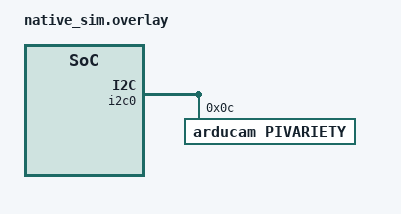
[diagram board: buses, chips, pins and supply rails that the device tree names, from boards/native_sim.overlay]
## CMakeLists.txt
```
# Copyright (c) 2026 Richard Osterloh
# SPDX-License-Identifier: Apache-2.0

cmake_minimum_required(VERSION 3.20.0)
find_package(Zephyr REQUIRED HINTS $ENV{ZEPHYR_BASE})
project(arducam_pivariety_test)

FILE(GLOB app_sources src/*.c)
target_sources(app PRIVATE ${app_sources})
```

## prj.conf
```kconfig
CONFIG_ZTEST=y
CONFIG_EMUL=y

CONFIG_I2C=y
CONFIG_I2C_EMUL=y

CONFIG_VIDEO=y
CONFIG_VIDEO_ARDUCAM_PIVARIETY=y
CONFIG_VIDEO_LOG_LEVEL_DBG=y
```

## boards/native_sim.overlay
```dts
/*
 * Copyright (c) 2026 Richard Osterloh
 * SPDX-License-Identifier: Apache-2.0
 */

#include <zephyr/dt-bindings/video/video-interfaces.h>

&i2c0 {
	status = "okay";

	pivariety: pivariety@c {
		compatible = "arducam,pivariety";
		reg = <0x0c>;

		port {
			pivariety_ep_out: endpoint {
				remote-endpoint-label = "";
				bus-type = <VIDEO_BUS_TYPE_CSI2_DPHY>;
				data-lanes = <1 2>;
				link-frequencies = <493500000>;
			};
		};
	};
};
```

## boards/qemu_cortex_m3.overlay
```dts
/*
 * Copyright (c) 2026 Richard Osterloh
 * SPDX-License-Identifier: Apache-2.0
 */

#include <zephyr/dt-bindings/i2c/i2c.h>
#include <zephyr/dt-bindings/video/video-interfaces.h>

/ {
	fake_i2c_bus: i2c@100 {
		compatible = "zephyr,i2c-emul-controller";
		reg = <0x100 4>;
		clock-frequency = <I2C_BITRATE_STANDARD>;
		#address-cells = <1>;
		#size-cells = <0>;
		status = "okay";

		pivariety: pivariety@c {
			compatible = "arducam,pivariety";
			reg = <0x0c>;

			port {
				pivariety_ep_out: endpoint {
					remote-endpoint-label = "";
					bus-type = <VIDEO_BUS_TYPE_CSI2_DPHY>;
					data-lanes = <1 2>;
					link-frequencies = <493500000>;
				};
			};
		};
	};
};
```

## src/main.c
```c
/*
 * Copyright (c) 2026 Richard Osterloh
 * SPDX-License-Identifier: Apache-2.0
 */

#include <zephyr/device.h>
#include <zephyr/drivers/video.h>
#include <zephyr/video/formats.h>
#include <zephyr/ztest.h>

#include "pivariety_emul.h"

static const struct device *const cam = DEVICE_DT_GET(DT_NODELABEL(pivariety));

ZTEST(pivariety, test_device_is_ready)
{
	zassert_true(device_is_ready(cam), "probe should succeed against the emulator");
}

ZTEST(pivariety, test_probe_reads_identity_registers)
{
	/* Probe must read all three identity registers, or a wrong/absent module
	 * would bind silently.
	 */
	zassert_true(pivariety_emul_was_read(DEVICE_ID_REG), "DEVICE_ID_REG not read");
	zassert_true(pivariety_emul_was_read(SENSOR_ID_REG), "SENSOR_ID_REG not read");
	zassert_true(pivariety_emul_was_read(DEVICE_VERSION_REG), "DEVICE_VERSION_REG not read");
}

ZTEST(pivariety, test_enumerates_all_format_resolution_pairs)
{
	struct video_caps caps = {.type = VIDEO_BUF_TYPE_OUTPUT};
	int n = 0;

	zassert_ok(video_get_caps(cam, &caps));

	while (caps.format_caps[n].pixelformat != 0) {
		n++;
	}

	/* The emulator advertises RAW10-grey at 2 resolutions and RAW8-BGGR at 1. */
	zassert_equal(n, 3, "expected 3 (format, resolution) pairs, got %d", n);
}

ZTEST(pivariety, test_maps_greyscale_and_bayer_data_types)
{
	struct video_caps caps = {.type = VIDEO_BUF_TYPE_OUTPUT};

	zassert_ok(video_get_caps(cam, &caps));

	/* RAW10 (0x2b) + order 4 (GRAY) -> Y10P, not a Bayer format. */
	zassert_equal(caps.format_caps[0].pixelformat, VIDEO_PIX_FMT_Y10P);
	zassert_equal(caps.format_caps[0].width_min, 240);
	zassert_equal(caps.format_caps[0].height_min, 180);
	zassert_equal(caps.format_caps[1].pixelformat, VIDEO_PIX_FMT_Y10P);
	zassert_equal(caps.format_caps[1].width_min, 120);

	/* RAW8 (0x2a) + order 0 (BGGR) -> SBGGR8. */
	zassert_equal(caps.format_caps[2].pixelformat, VIDEO_PIX_FMT_SBGGR8);
	zassert_equal(caps.format_caps[2].width_min, 640);
}

ZTEST(pivariety, test_set_fmt_selects_module_indices)
{
	struct video_format fmt = {
		.type = VIDEO_BUF_TYPE_OUTPUT,
		.pixelformat = VIDEO_PIX_FMT_SBGGR8,
		.width = 640,
		.height = 480,
	};

	zassert_ok(video_set_format(cam, &fmt));

	/* SBGGR8 640x480 is the emulator's format 1, resolution 0. */
	zassert_equal(pivariety_emul_last_write(PIXFORMAT_INDEX_REG), 1);
	zassert_equal(pivariety_emul_last_write(RESOLUTION_INDEX_REG), 0);
}

ZTEST(pivariety, test_set_fmt_rejects_unadvertised_format)
{
	struct video_format fmt = {
		.type = VIDEO_BUF_TYPE_OUTPUT,
		.pixelformat = VIDEO_PIX_FMT_RGB565,
		.width = 640,
		.height = 480,
	};

	zassert_equal(video_set_format(cam, &fmt), -ENOTSUP);
}

ZTEST(pivariety, test_get_fmt_returns_what_was_set)
{
	struct video_format set = {
		.type = VIDEO_BUF_TYPE_OUTPUT,
		.pixelformat = VIDEO_PIX_FMT_Y10P,
		.width = 240,
		.height = 180,
	};
	struct video_format got = {.type = VIDEO_BUF_TYPE_OUTPUT};

	zassert_ok(video_set_format(cam, &set));
	zassert_ok(video_get_format(cam, &got));

	zassert_equal(got.pixelformat, VIDEO_PIX_FMT_Y10P);
	zassert_equal(got.width, 240);
	zassert_equal(got.height, 180);
}

ZTEST(pivariety, test_stream_start_stop_writes_mode_select)
{
	zassert_ok(video_stream_start(cam, VIDEO_BUF_TYPE_OUTPUT));
	zassert_equal(pivariety_emul_last_write(MODE_SELECT_REG), 1);

	zassert_ok(video_stream_stop(cam, VIDEO_BUF_TYPE_OUTPUT));
	zassert_equal(pivariety_emul_last_write(MODE_SELECT_REG), 0);
}

ZTEST(pivariety, test_link_frequency_comes_from_devicetree)
{
	int64_t freq = video_get_csi_link_freq(cam, 10, 2);

	/* Pivariety has no link-frequency register; it must come from the
	 * endpoint's link-frequencies property.
	 */
	zassert_equal(freq, 493500000, "got %lld", freq);
}

ZTEST(pivariety, test_maps_known_control_and_skips_unknown)
{
	struct video_ctrl_query cq = {.dev = cam, .id = VIDEO_CID_EXPOSURE};

	zassert_ok(video_query_ctrl(&cq), "exposure should be registered");
	zassert_equal(cq.range.min, 0);
	zassert_equal(cq.range.max, 65535);
	zassert_equal(cq.range.def, 100);

	/* The vendor control has no Zephyr CID and must not have been registered. */
	cq.id = 0x009a0999;
	zassert_not_equal(video_query_ctrl(&cq), 0, "vendor control should be skipped");
}

ZTEST(pivariety, test_set_ctrl_writes_id_then_value)
{
	struct video_control ctrl = {.id = VIDEO_CID_EXPOSURE, .val = 500};

	zassert_ok(video_set_ctrl(cam, &ctrl));
	zassert_equal(pivariety_emul_last_write(CTRL_ID_REG), 0x00980911);
	zassert_equal(pivariety_emul_last_write(CTRL_VALUE_REG), 500);
}

ZTEST_SUITE(pivariety, NULL, NULL, NULL, NULL, NULL);
```

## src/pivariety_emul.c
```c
/*
 * Copyright (c) 2026 Richard Osterloh
 * SPDX-License-Identifier: Apache-2.0
 *
 * I2C emulator for an Arducam Pivariety module.
 *
 * Models the index/attribute enumeration protocol rather than a flat register
 * file: writing PIXFORMAT_INDEX_REG or RESOLUTION_INDEX_REG changes what the
 * corresponding attribute registers read back, and out-of-range indices return
 * NO_DATA_AVAILABLE. That behaviour is the thing worth testing; a flat register
 * file would let a broken enumeration loop pass.
 *
 * Advertised module: one greyscale RAW10 format (the shape the ToF camera is
 * expected to report) at two resolutions, plus one Bayer RAW8 format, so the
 * fourcc mapping is exercised on both paths.
 */

#define DT_DRV_COMPAT arducam_pivariety

#include <zephyr/drivers/emul.h>
#include <zephyr/drivers/i2c.h>
#include <zephyr/drivers/i2c_emul.h>
#include <zephyr/sys/byteorder.h>

#include "pivariety_emul.h"

#define EMUL_MAX_TRACKED_REG 0x0500

struct piv_emul_fmt {
	uint32_t data_type;
	uint32_t order;
	uint32_t lanes;
	uint32_t res[2][2]; /* {width, height} */
	uint32_t num_res;
};

static const struct piv_emul_fmt emul_fmts[] = {
	{.data_type = 0x2b, .order = 4, .lanes = 2, .res = {{240, 180}, {120, 90}}, .num_res = 2},
	{.data_type = 0x2a, .order = 0, .lanes = 2, .res = {{640, 480}, {0, 0}}, .num_res = 1},
};

static uint32_t emul_pixfmt_index;
static uint32_t emul_res_index;
static uint32_t emul_mode_select;
static bool emul_read_seen[EMUL_MAX_TRACKED_REG];
static uint32_t emul_last_write[EMUL_MAX_TRACKED_REG];

/* One mappable control (exposure) and one with no Zephyr equivalent, so the
 * skip path is exercised too. 0x00980911 is V4L2_CID_EXPOSURE.
 */
struct piv_emul_ctrl {
	uint32_t id, min, max, step, def;
};

static const struct piv_emul_ctrl emul_ctrls[] = {
	{.id = 0x00980911, .min = 0, .max = 65535, .step = 1, .def = 100},
	{.id = 0x009a0999, .min = 0, .max = 1, .step = 1, .def = 0},
};

static uint32_t emul_ctrl_index;
static uint32_t emul_ctrl_value;

bool pivariety_emul_was_read(uint16_t reg)
{
	return reg < EMUL_MAX_TRACKED_REG && emul_read_seen[reg];
}

uint32_t pivariety_emul_last_write(uint16_t reg)
{
	return reg < EMUL_MAX_TRACKED_REG ? emul_last_write[reg] : NO_DATA_AVAILABLE;
}

static uint32_t emul_read_reg(uint16_t reg)
{
	const struct piv_emul_fmt *fmt = NULL;

	if (reg < EMUL_MAX_TRACKED_REG) {
		emul_read_seen[reg] = true;
	}

	if (emul_pixfmt_index < ARRAY_SIZE(emul_fmts)) {
		fmt = &emul_fmts[emul_pixfmt_index];
	}

	switch (reg) {
	case SYSTEM_IDLE_REG:
		/* 0 == free. Confirmed against real hardware, which reports 0 at rest,
		 * and against wait_for_free() in the kernel driver.
		 */
		return 0;
	case DEVICE_VERSION_REG:
		return 0x0001;
	case SENSOR_ID_REG:
		return 0x1234;
	case DEVICE_ID_REG:
		return 0x0001;
	case MODE_SELECT_REG:
		return emul_mode_select;
	case PIXFORMAT_TYPE_REG:
		return fmt ? fmt->data_type : NO_DATA_AVAILABLE;
	case PIXFORMAT_ORDER_REG:
		return fmt ? fmt->order : NO_DATA_AVAILABLE;
	case MIPI_LANES_REG:
		return fmt ? fmt->lanes : NO_DATA_AVAILABLE;
	case FORMAT_WIDTH_REG:
		if (fmt == NULL || emul_res_index >= fmt->num_res) {
			return NO_DATA_AVAILABLE;
		}
		return fmt->res[emul_res_index][0];
	case FORMAT_HEIGHT_REG:
		if (fmt == NULL || emul_res_index >= fmt->num_res) {
			return NO_DATA_AVAILABLE;
		}
		return fmt->res[emul_res_index][1];
	case CTRL_ID_REG:
		return emul_ctrl_index < ARRAY_SIZE(emul_ctrls) ? emul_ctrls[emul_ctrl_index].id
								: NO_DATA_AVAILABLE;
	case CTRL_MIN_REG:
		return emul_ctrl_index < ARRAY_SIZE(emul_ctrls) ? emul_ctrls[emul_ctrl_index].min
								: NO_DATA_AVAILABLE;
	case CTRL_MAX_REG:
		return emul_ctrl_index < ARRAY_SIZE(emul_ctrls) ? emul_ctrls[emul_ctrl_index].max
								: NO_DATA_AVAILABLE;
	case CTRL_STEP_REG:
		return emul_ctrl_index < ARRAY_SIZE(emul_ctrls) ? emul_ctrls[emul_ctrl_index].step
								: NO_DATA_AVAILABLE;
	case CTRL_DEF_REG:
		return emul_ctrl_index < ARRAY_SIZE(emul_ctrls) ? emul_ctrls[emul_ctrl_index].def
								: NO_DATA_AVAILABLE;
	case CTRL_VALUE_REG:
		return emul_ctrl_value;
	default:
		return NO_DATA_AVAILABLE;
	}
}

static void emul_write_reg(uint16_t reg, uint32_t val)
{
	if (reg < EMUL_MAX_TRACKED_REG) {
		emul_last_write[reg] = val;
	}

	switch (reg) {
	case PIXFORMAT_INDEX_REG:
		emul_pixfmt_index = val;
		break;
	case RESOLUTION_INDEX_REG:
		emul_res_index = val;
		break;
	case MODE_SELECT_REG:
		emul_mode_select = val;
		break;
	case CTRL_INDEX_REG:
		emul_ctrl_index = val;
		break;
	case CTRL_VALUE_REG:
		emul_ctrl_value = val;
		break;
	default:
		break;
	}
}

static int piv_emul_transfer(const struct emul *target, struct i2c_msg *msgs, int num_msgs,
			     int addr)
{
	ARG_UNUSED(target);
	ARG_UNUSED(addr);

	if (num_msgs == 1 && msgs[0].len == 6 && !(msgs[0].flags & I2C_MSG_READ)) {
		/* Write: 2-byte BE address followed by 4-byte BE value. */
		emul_write_reg(sys_get_be16(&msgs[0].buf[0]), sys_get_be32(&msgs[0].buf[2]));
		return 0;
	}

	if (num_msgs == 2 && msgs[0].len == 2 && !(msgs[0].flags & I2C_MSG_READ) &&
	    msgs[1].len == 4 && (msgs[1].flags & I2C_MSG_READ)) {
		sys_put_be32(emul_read_reg(sys_get_be16(&msgs[0].buf[0])), msgs[1].buf);
		return 0;
	}

	return -EIO;
}

static const struct i2c_emul_api piv_emul_api = {
	.transfer = piv_emul_transfer,
};

static int piv_emul_init(const struct emul *target, const struct device *parent)
{
	ARG_UNUSED(target);
	ARG_UNUSED(parent);
	return 0;
}

#define PIV_EMUL_DEFINE(n) EMUL_DT_INST_DEFINE(n, piv_emul_init, NULL, NULL, &piv_emul_api, NULL)

DT_INST_FOREACH_STATUS_OKAY(PIV_EMUL_DEFINE)
```

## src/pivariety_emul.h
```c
/*
 * Copyright (c) 2026 Richard Osterloh
 * SPDX-License-Identifier: Apache-2.0
 */

#ifndef PIVARIETY_EMUL_H_
#define PIVARIETY_EMUL_H_

#include <stdbool.h>
#include <stdint.h>

#define DEVICE_REG_BASE    0x0100
#define PIXFORMAT_REG_BASE 0x0200
#define FORMAT_REG_BASE    0x0300
#define CTRL_REG_BASE      0x0400

#define MODE_SELECT_REG    (DEVICE_REG_BASE | 0x0000)
#define DEVICE_VERSION_REG (DEVICE_REG_BASE | 0x0001)
#define SENSOR_ID_REG      (DEVICE_REG_BASE | 0x0002)
#define DEVICE_ID_REG      (DEVICE_REG_BASE | 0x0003)
#define SYSTEM_IDLE_REG    (DEVICE_REG_BASE | 0x0007)

#define PIXFORMAT_INDEX_REG (PIXFORMAT_REG_BASE | 0x0000)
#define PIXFORMAT_TYPE_REG  (PIXFORMAT_REG_BASE | 0x0001)
#define PIXFORMAT_ORDER_REG (PIXFORMAT_REG_BASE | 0x0002)
#define MIPI_LANES_REG      (PIXFORMAT_REG_BASE | 0x0003)

#define RESOLUTION_INDEX_REG (FORMAT_REG_BASE | 0x0000)
#define FORMAT_WIDTH_REG     (FORMAT_REG_BASE | 0x0001)
#define FORMAT_HEIGHT_REG    (FORMAT_REG_BASE | 0x0002)

#define CTRL_INDEX_REG (CTRL_REG_BASE | 0x0000)
#define CTRL_ID_REG    (CTRL_REG_BASE | 0x0001)
#define CTRL_MIN_REG   (CTRL_REG_BASE | 0x0002)
#define CTRL_MAX_REG   (CTRL_REG_BASE | 0x0003)
#define CTRL_STEP_REG  (CTRL_REG_BASE | 0x0004)
#define CTRL_DEF_REG   (CTRL_REG_BASE | 0x0005)
#define CTRL_VALUE_REG (CTRL_REG_BASE | 0x0006)

#define NO_DATA_AVAILABLE 0xFFFFFFFEU

/** True if the driver has read this register since boot. */
bool pivariety_emul_was_read(uint16_t reg);

/** Last value the driver wrote to this register, or NO_DATA_AVAILABLE. */
uint32_t pivariety_emul_last_write(uint16_t reg);

#endif /* PIVARIETY_EMUL_H_ */
```
